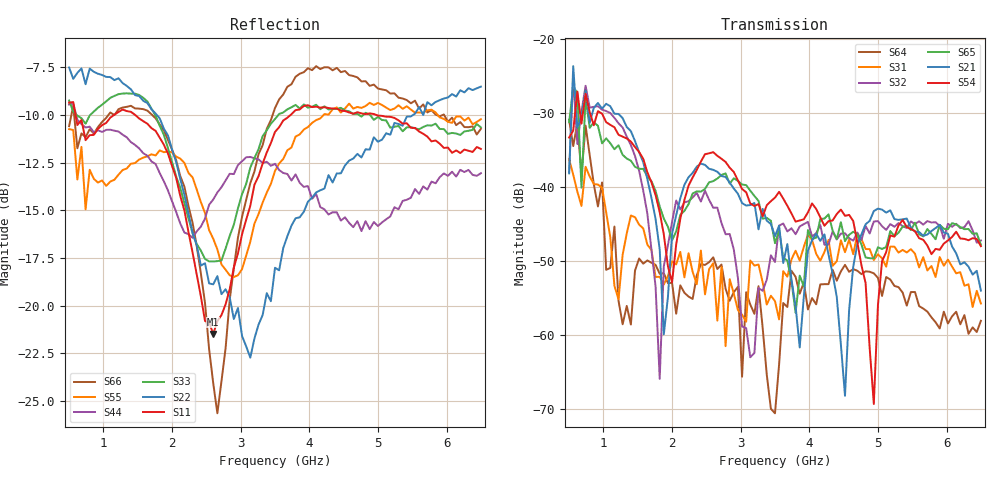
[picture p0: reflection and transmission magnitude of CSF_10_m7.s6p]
!Keysight Technologies,M9804A,MY58100912,A.14.10.03
!Date: Thursday, April 27, 2023 10:28:33
!Correction: S11(C  6-Port  )
!S12(C  6-Port  )
!S13(C  6-Port  )
!S14(C  6-Port  )
!S15(C  6-Port  )
!S16(C  6-Port  )
!S21(C  6-Port  )
!S22(C  6-Port  )
!S23(C  6-Port  )
!S24(C  6-Port  )
!S25(C  6-Port  )
!S26(C  6-Port  )
!S31(C  6-Port  )
!S32(C  6-Port  )
!S33(C  6-Port  )
!S34(C  6-Port  )
!S35(C  6-Port  )
!S36(C  6-Port  )
!S41(C  6-Port  )
!S42(C  6-Port  )
!S43(C  6-Port  )
!S44(C  6-Port  )
!S45(C  6-Port  )
!S46(C  6-Port  )
!S51(C  6-Port  )
!S52(C  6-Port  )
!S53(C  6-Port  )
!S54(C  6-Port  )
!S55(C  6-Port  )
!S56(C  6-Port  )
!S61(C  6-Port  )
!S62(C  6-Port  )
!S63(C  6-Port  )
!S64(C  6-Port  )
!S65(C  6-Port  )
!S66(C  6-Port  )
!S6P File: Measurement: :
# Hz S  RI  R 50
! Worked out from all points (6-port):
!   101 points, 500 MHz to 6.5 GHz, reference 50 ohm
!   strongest paths, dB at 500 MHz, 2 GHz, 3.5 GHz, 5 GHz, 6.5 GHz:
!     S54: -33.3, -52.9, -41.4, -56.0, -48.0
!     S21: -38.2, -46.3, -46.7, -42.9, -54.0
!     S65: -31.3, -47.2, -47.6, -48.2, -47.8
!     S32: -38.0, -44.7, -50.2, -44.6, -47.2
!     S31: -36.2, -50.0, -55.5, -49.1, -55.8
!     S64: -30.9, -53.0, -70.6, -52.3, -58.1
!   lowest |S11| = -21.5 dB at 2.6 GHz (marker M1), VSWR 1.18, Z = 42.6 + j2.32 ohm
!   |S11| at or under -10 dB: 594.1 MHz to 1.151 GHz (556.8 MHz wide, 63.8 % of centre); 1.465 GHz to 3.725 GHz (2.26 GHz wide, 87.1 % of centre); 4.982 GHz to end of sweep
